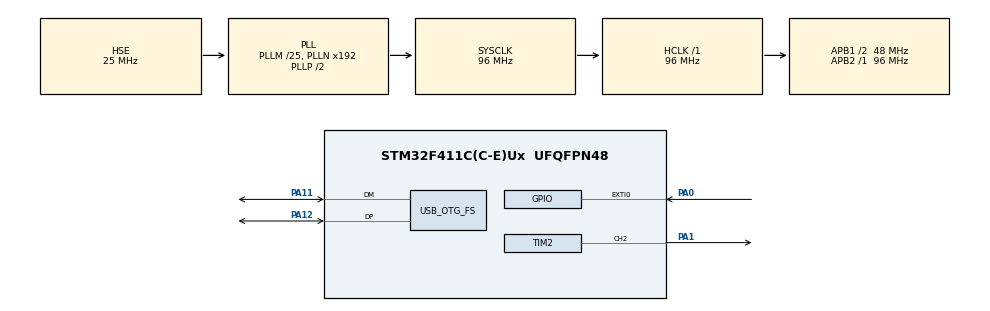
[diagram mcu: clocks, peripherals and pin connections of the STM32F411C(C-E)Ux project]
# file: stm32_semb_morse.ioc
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Mcu.Family=STM32F4
Mcu.Name=STM32F411C(C-E)Ux
Mcu.Package=UFQFPN48
NVIC.EXTI0_IRQn=true\:0\:0\:false\:false\:true\:true\:true\:true
NVIC.OTG_FS_IRQn=true\:0\:0\:false\:false\:true\:false\:true\:true
NVIC.PriorityGroup=NVIC_PRIORITYGROUP_4
NVIC.TIM3_IRQn=true\:0\:0\:false\:false\:true\:true\:true\:true
PA0-WKUP.GPIO_ModeDefaultEXTI=GPIO_MODE_IT_FALLING
PA0-WKUP.Signal=GPXTI0
PA1.Signal=S_TIM2_CH2
PA11.Mode=Device_Only
PA11.Signal=USB_OTG_FS_DM
PA12.Mode=Device_Only
PA12.Signal=USB_OTG_FS_DP
PH0\ -\ OSC_IN.Mode=HSE-External-Oscillator
PH0\ -\ OSC_IN.Signal=RCC_OSC_IN
PH1\ -\ OSC_OUT.Mode=HSE-External-Oscillator
PH1\ -\ OSC_OUT.Signal=RCC_OSC_OUT
ProjectManager.HeapSize=0x200
ProjectManager.StackSize=0x400
ProjectManager.TargetToolchain=CMake
RCC.48MHZClocksFreq_Value=48000000
RCC.AHBFreq_Value=96000000
RCC.APB1CLKDivider=RCC_HCLK_DIV2
RCC.APB1Freq_Value=48000000
RCC.APB1TimFreq_Value=96000000
RCC.APB2Freq_Value=96000000
RCC.APB2TimFreq_Value=96000000
RCC.CortexFreq_Value=96000000
RCC.HCLKFreq_Value=96000000
RCC.HSE_VALUE=25000000
RCC.HSI_VALUE=16000000
RCC.LSE_VALUE=32768
RCC.PLLM=25
RCC.SYSCLKFreq_VALUE=96000000
RCC.SYSCLKSource=RCC_SYSCLKSOURCE_PLLCLK
RCC.VCOOutputFreq_Value=192000000
SH.S_TIM2_CH2.0=TIM2_CH2,PWM Generation2 CH2
TIM2.Channel-PWM\ Generation2\ CH2=TIM_CHANNEL_2
TIM2.Period=2525
TIM2.Pulse-PWM\ Generation2\ CH2=1263
TIM3.Period=999
TIM3.Prescaler=95
USB_DEVICE.CLASS_NAME_FS=CDC
USB_DEVICE.VirtualMode=Cdc
USB_DEVICE.VirtualModeFS=Cdc_FS
USB_OTG_FS.VirtualMode=Device_Only
VP_TIM2_VS_ClockSourceINT.Mode=Internal
VP_TIM3_VS_ClockSourceINT.Mode=Internal
VP_USB_DEVICE_VS_USB_DEVICE_CDC_FS.Mode=CDC_FS
board=custom

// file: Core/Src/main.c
/* USER CODE BEGIN Header */
/**
 ******************************************************************************
 * @file           : main.c
 * @brief          : Main program body
 ******************************************************************************
 * @attention
 *
 * Copyright (c) 2026 STMicroelectronics.
 * All rights reserved.
 *
 * This software is licensed under terms that can be found in the LICENSE file
 * in the root directory of this software component.
 * If no LICENSE file comes with this software, it is provided AS-IS.
 *
 ******************************************************************************
 */
/* USER CODE END Header */
#include "main.h"
#include "usb_device.h"

/* USER CODE BEGIN Includes */
#include "usbd_cdc_if.h"

/* USER CODE END Includes */

TIM_HandleTypeDef htim2;
TIM_HandleTypeDef htim3;

/* USER CODE BEGIN PV */
volatile uint8_t ir_signal_active = 0;
volatile uint32_t absence_timer = 0;
volatile uint32_t active_signal_duration = 0;
volatile uint32_t silenceTimer = 0;

volatile uint8_t packet_received_flag = 0;
volatile uint32_t final_packet_duration = 0;

volatile uint8_t pendingSpace = 0;
volatile uint8_t pendingWord = 0;
volatile uint8_t lineSilenceFlag = 0;
volatile uint8_t is_line_empty = 1;

typedef enum
{
  TX_IDLE = 0,
  TX_DOT,
  TX_DASH,
  TX_SYMBOL_SPACE,
  TX_LETTER_SPACE,
  TX_WORD_SPACE
} tx_state_t;

volatile tx_state_t txState = TX_IDLE;
volatile uint32_t txTimer = 0;
volatile uint32_t txDurationTarget = 0;

#define TX_BUFFER_SIZE 256
char txBuffer[TX_BUFFER_SIZE];
volatile uint16_t txReadIdx = 0;
volatile uint16_t txWriteIdx = 0;
/* USER CODE END PV */

void SystemClock_Config(void);
static void MX_GPIO_Init(void);
static void MX_TIM2_Init(void);
static void MX_TIM3_Init(void);
/* USER CODE BEGIN PFP */
void processTxSymbol(void);

/* USER CODE END PFP */

/* USER CODE BEGIN 0 */
void processTxSymbol(void)
{
  while (txReadIdx != txWriteIdx)
  {
    char c = txBuffer[txReadIdx];
    txReadIdx = (txReadIdx + 1) % TX_BUFFER_SIZE;
    txTimer = 0;

    switch (c)
    {
    case '.':
      txState = TX_DOT;
      txDurationTarget = 80;
      return;
    case '-':
      txState = TX_DASH;
      txDurationTarget = 240;
      return;
    case ' ':
      txState = TX_LETTER_SPACE;
      txDurationTarget = 600;
      return;
    case '/':
      txState = TX_WORD_SPACE;
      txDurationTarget = 1400;
      return;
    default:
      break;
    }
  }
  txState = TX_IDLE;
}

/* USER CODE END 0 */

int main(void)
{

  /* MCU Configuration--------------------------------------------------------*/

  /* Reset of all peripherals, Initializes the Flash interface and the Systick. */
  HAL_Init();

  /* Configure the system clock */
  SystemClock_Config();

  /* Initialize all configured peripherals */
  MX_GPIO_Init();
  MX_TIM2_Init();
  MX_TIM3_Init();
  MX_USB_DEVICE_Init();
  /* USER CODE BEGIN 2 */
  HAL_TIM_PWM_Start(&htim2, TIM_CHANNEL_2);
  TIM2->CCER &= ~TIM_CCER_CC2E;
  HAL_TIM_Base_Start_IT(&htim3);

  /* USER CODE END 2 */

  /* Infinite loop */
  /* USER CODE BEGIN WHILE */
  while (1)
  {
    if (packet_received_flag)
    {
      packet_received_flag = 0;

      /* Buffer para unificar as mensagens */
      uint8_t usbBuffer[4];
      uint8_t usbLen = 0;

      if (pendingWord)
      {
        usbBuffer[usbLen++] = '/';
      }
      else if (pendingSpace)
      {
        usbBuffer[usbLen++] = ' ';
      }

      pendingSpace = 0;
      pendingWord = 0;
      is_line_empty = 0;

      if (final_packet_duration >= 40 && final_packet_duration <= 140)
      {
        usbBuffer[usbLen++] = '.';
      }
      else if (final_packet_duration > 140 && final_packet_duration <= 350)
      {
        usbBuffer[usbLen++] = '-';
      }

      /* Se temos algo para enviar, enviamos TUDO JUNTO e travamos
         o código até o USB confirmar o recebimento */
      if (usbLen > 0)
      {
        while (CDC_Transmit_FS(usbBuffer, usbLen) == USBD_BUSY)
        {
          //Espera o hardware USB esvaziar
        }
      }
    }

    if (lineSilenceFlag)
    {
      lineSilenceFlag = 0;
      pendingSpace = 0;
      pendingWord = 0;

      if (!is_line_empty)
      {
        uint8_t n[] = "\r\n";
        while (CDC_Transmit_FS(n, 2) == USBD_BUSY)
        {
          // Espera o hardware USB esvaziar
        }
        is_line_empty = 1;
      }
    }
  }
  /* USER CODE END WHILE */

}
void SystemClock_Config(void)
{
  RCC_OscInitTypeDef RCC_OscInitStruct = {0};
  RCC_ClkInitTypeDef RCC_ClkInitStruct = {0};

  /** Configure the main internal regulator output voltage
   */
  __HAL_RCC_PWR_CLK_ENABLE();
  __HAL_PWR_VOLTAGESCALING_CONFIG(PWR_REGULATOR_VOLTAGE_SCALE1);

  /** Initializes the RCC Oscillators according to the specified parameters
   * in the RCC_OscInitTypeDef structure.
   */
  RCC_OscInitStruct.OscillatorType = RCC_OSCILLATORTYPE_HSE;
  RCC_OscInitStruct.HSEState = RCC_HSE_ON;
  RCC_OscInitStruct.PLL.PLLState = RCC_PLL_ON;
  RCC_OscInitStruct.PLL.PLLSource = RCC_PLLSOURCE_HSE;
  RCC_OscInitStruct.PLL.PLLM = 25;
  RCC_OscInitStruct.PLL.PLLN = 192;
  RCC_OscInitStruct.PLL.PLLP = RCC_PLLP_DIV2;
  RCC_OscInitStruct.PLL.PLLQ = 4;
  if (HAL_RCC_OscConfig(&RCC_OscInitStruct) != HAL_OK)
  {
    Error_Handler();
  }

  /** Initializes the CPU, AHB and APB buses clocks
   */
  RCC_ClkInitStruct.ClockType = RCC_CLOCKTYPE_HCLK | RCC_CLOCKTYPE_SYSCLK | RCC_CLOCKTYPE_PCLK1 | RCC_CLOCKTYPE_PCLK2;
  RCC_ClkInitStruct.SYSCLKSource = RCC_SYSCLKSOURCE_PLLCLK;
  RCC_ClkInitStruct.AHBCLKDivider = RCC_SYSCLK_DIV1;
  RCC_ClkInitStruct.APB1CLKDivider = RCC_HCLK_DIV2;
  RCC_ClkInitStruct.APB2CLKDivider = RCC_HCLK_DIV1;

  if (HAL_RCC_ClockConfig(&RCC_ClkInitStruct, FLASH_LATENCY_3) != HAL_OK)
  {
    Error_Handler();
  }
}

static void MX_TIM2_Init(void)
{

  TIM_ClockConfigTypeDef sClockSourceConfig = {0};
  TIM_MasterConfigTypeDef sMasterConfig = {0};
  TIM_OC_InitTypeDef sConfigOC = {0};

  htim2.Instance = TIM2;
  htim2.Init.Prescaler = 0;
  htim2.Init.CounterMode = TIM_COUNTERMODE_UP;
  htim2.Init.Period = 2525;
  htim2.Init.ClockDivision = TIM_CLOCKDIVISION_DIV1;
  htim2.Init.AutoReloadPreload = TIM_AUTORELOAD_PRELOAD_DISABLE;
  if (HAL_TIM_Base_Init(&htim2) != HAL_OK)
  {
    Error_Handler();
  }
  sClockSourceConfig.ClockSource = TIM_CLOCKSOURCE_INTERNAL;
  if (HAL_TIM_ConfigClockSource(&htim2, &sClockSourceConfig) != HAL_OK)
  {
    Error_Handler();
  }
  if (HAL_TIM_PWM_Init(&htim2) != HAL_OK)
  {
    Error_Handler();
  }
  sMasterConfig.MasterOutputTrigger = TIM_TRGO_RESET;
  sMasterConfig.MasterSlaveMode = TIM_MASTERSLAVEMODE_DISABLE;
  if (HAL_TIMEx_MasterConfigSynchronization(&htim2, &sMasterConfig) != HAL_OK)
  {
    Error_Handler();
  }
  sConfigOC.OCMode = TIM_OCMODE_PWM1;
  sConfigOC.Pulse = 1263;
  sConfigOC.OCPolarity = TIM_OCPOLARITY_HIGH;
  sConfigOC.OCFastMode = TIM_OCFAST_DISABLE;
  if (HAL_TIM_PWM_ConfigChannel(&htim2, &sConfigOC, TIM_CHANNEL_2) != HAL_OK)
  {
    Error_Handler();
  }
  HAL_TIM_MspPostInit(&htim2);
}

static void MX_TIM3_Init(void)
{

  TIM_ClockConfigTypeDef sClockSourceConfig = {0};
  TIM_MasterConfigTypeDef sMasterConfig = {0};

  htim3.Instance = TIM3;
  htim3.Init.Prescaler = 95;
  htim3.Init.CounterMode = TIM_COUNTERMODE_UP;
  htim3.Init.Period = 999;
  htim3.Init.ClockDivision = TIM_CLOCKDIVISION_DIV1;
  htim3.Init.AutoReloadPreload = TIM_AUTORELOAD_PRELOAD_DISABLE;
  if (HAL_TIM_Base_Init(&htim3) != HAL_OK)
  {
    Error_Handler();
  }
  sClockSourceConfig.ClockSource = TIM_CLOCKSOURCE_INTERNAL;
  if (HAL_TIM_ConfigClockSource(&htim3, &sClockSourceConfig) != HAL_OK)
  {
    Error_Handler();
  }
  sMasterConfig.MasterOutputTrigger = TIM_TRGO_RESET;
  sMasterConfig.MasterSlaveMode = TIM_MASTERSLAVEMODE_DISABLE;
  if (HAL_TIMEx_MasterConfigSynchronization(&htim3, &sMasterConfig) != HAL_OK)
  {
    Error_Handler();
  }
}

static void MX_GPIO_Init(void)
{
  GPIO_InitTypeDef GPIO_InitStruct = {0};

  /* GPIO Ports Clock Enable */
  __HAL_RCC_GPIOH_CLK_ENABLE();
  __HAL_RCC_GPIOA_CLK_ENABLE();

  /*Configure GPIO pin : PA0 */
  GPIO_InitStruct.Pin = GPIO_PIN_0;
  GPIO_InitStruct.Mode = GPIO_MODE_IT_FALLING;
  GPIO_InitStruct.Pull = GPIO_NOPULL;
  HAL_GPIO_Init(GPIOA, &GPIO_InitStruct);

  /* EXTI interrupt init*/
  HAL_NVIC_SetPriority(EXTI0_IRQn, 0, 0);
  HAL_NVIC_EnableIRQ(EXTI0_IRQn);

}

/* USER CODE BEGIN 4 */
void morse_receive_byte(uint8_t rx_byte)
{
  uint16_t next_write = (txWriteIdx + 1) % TX_BUFFER_SIZE;

  if (next_write != txReadIdx)
  {
    txBuffer[txWriteIdx] = (char)rx_byte;
    txWriteIdx = next_write;

    if ((rx_byte == '\n' || rx_byte == '\r') && txState == TX_IDLE)
    {
      processTxSymbol();
    }
  }
  else
  {
    txReadIdx = 0;
    txWriteIdx = 0;
  }
}

void HAL_TIM_PeriodElapsedCallback(TIM_HandleTypeDef *htim)
{
  if (htim->Instance == TIM3)
  {
    // PROTEÇÃO HALF-DUPLEX
    if (txState != TX_IDLE)
    {
      ir_signal_active = 0;
      absence_timer = 0;
      active_signal_duration = 0;
      silenceTimer = 0;

      /* --- LÓGICA DE TRANSMISSÃO --- */
      txTimer++;

      if (txState == TX_DOT || txState == TX_DASH)
      {
        /* 2ms ON, 2ms OFF */
        if (txTimer % 4 < 2)
          TIM2->CCER |= TIM_CCER_CC2E;
        else
          TIM2->CCER &= ~TIM_CCER_CC2E;
      }
      else
      {
        TIM2->CCER &= ~TIM_CCER_CC2E;
      }

      if (txTimer >= txDurationTarget)
      {
        TIM2->CCER &= ~TIM_CCER_CC2E;

        if (txState == TX_DOT || txState == TX_DASH)
        {
          txState = TX_SYMBOL_SPACE;
          txDurationTarget = 80;
          txTimer = 0;
        }
        else
        {
          processTxSymbol();
        }
      }
    }
    else
    {
      /* LÓGICA DE RECEPÇÃO */
      if (HAL_GPIO_ReadPin(GPIOA, GPIO_PIN_0) == GPIO_PIN_RESET)
      {
        ir_signal_active = 1;
        active_signal_duration++;
        absence_timer = 0;
      }
      else
      {
        if (ir_signal_active)
        {
          absence_timer++;
          active_signal_duration++;

          /* TOLERÂNCIA DE 15ms: Salva os pontos estilhaçados */
          if (absence_timer >= 15)
          {
            ir_signal_active = 0;
            // Desconta os 15ms finais de silêncio para ter o pulso cravado
            final_packet_duration = active_signal_duration - 15;
            active_signal_duration = 0;
            packet_received_flag = 1;
            silenceTimer = 15;
          }
        }
        else
        {
          silenceTimer++;
          if (silenceTimer == 600)
          {
            pendingSpace = 1;
          }
          if (silenceTimer == 1400)
          {
            pendingSpace = 0;
            pendingWord = 1;
          }
          if (silenceTimer == 2000)
          {
            lineSilenceFlag = 1;
          }
        }
      }
    }
  }
}

void HAL_GPIO_EXTI_Callback(uint16_t GPIO_Pin)
{
  // Keeping EXTI only as an optional wake-up source if low-power mode is added later.
  // The duration tracking is now entirely handled by polling in the TIM3 callback.
}
/* USER CODE END 4 */

void Error_Handler(void)
{
  __disable_irq();
  while (1)
  {
  }
}
